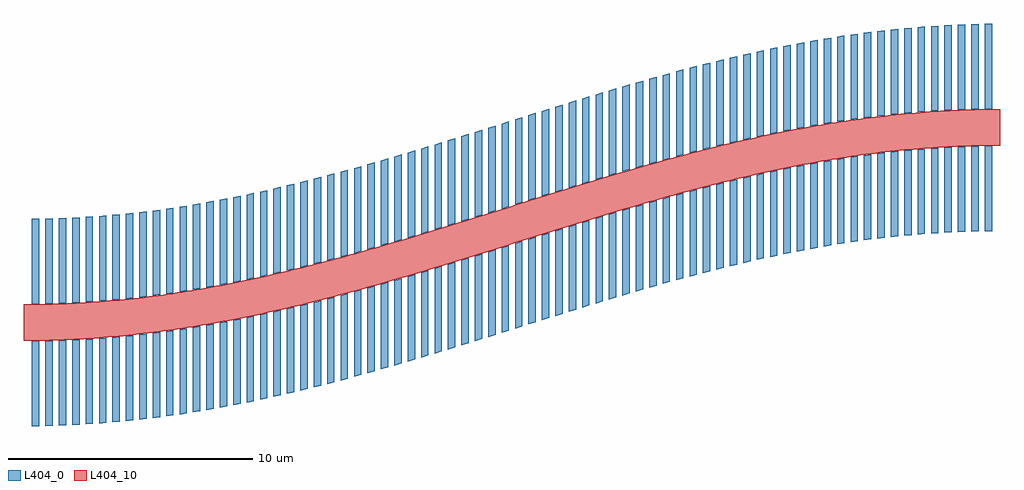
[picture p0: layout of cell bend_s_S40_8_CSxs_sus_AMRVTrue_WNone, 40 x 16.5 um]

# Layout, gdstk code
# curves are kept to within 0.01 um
import gdstk
lib = gdstk.Library(unit=1e-6, precision=1e-09)
def P(c, l, *ps):  # polygons
    for p in ps: c.add(gdstk.Polygon(p, *l))
L404_0 = (404, 0)
L404_10 = (404, 10)

bend_s_s40_8_csxs_sus_am = lib.new_cell('bend_s_S40_8_CSxs_sus_AMRVTrue_WNone')
P(bend_s_s40_8_csxs_sus_am, L404_0, [(0.325,0.751),(0.325,4.251),(0.625,4.255),(0.625,0.755)],
  [(0.875,0.76),(0.875,4.26),(1.175,4.267),(1.175,0.767)],
  [(1.425,0.775),(1.425,4.275),(1.725,4.287),(1.725,0.787)],
  [(1.975,0.799),(1.975,4.299),(2.275,4.315),(2.275,0.815)],
  [(2.525,0.83),(2.525,4.33),(2.825,4.35),(2.825,0.85)],
  [(3.075,0.868),(3.075,4.368),(3.375,4.392),(3.375,0.892)],
  [(3.625,0.914),(3.625,4.414),(3.925,4.442),(3.925,0.942)],
  [(4.175,0.967),(4.175,4.467),(4.475,4.499),(4.475,0.999)],
  [(4.725,1.027),(4.725,4.527),(5.025,4.563),(5.025,1.063)],
  [(5.275,1.094),(5.275,4.594),(5.575,4.634),(5.575,1.134)],
  [(5.825,1.169),(5.825,4.669),(6.125,4.712),(6.125,1.212)],
  [(6.375,1.25),(6.375,4.75),(6.675,4.797),(6.675,1.297)],
  [(6.925,1.337),(6.925,4.837),(7.225,4.888),(7.225,1.388)],
  [(7.475,1.431),(7.475,4.931),(7.775,4.985),(7.775,1.485)],
  [(8.025,1.531),(8.025,5.031),(8.325,5.089),(8.325,1.589)],
  [(8.575,1.638),(8.575,5.138),(8.875,5.198),(8.875,1.698)],
  [(9.125,1.75),(9.125,5.25),(9.425,5.314),(9.425,1.814)],
  [(9.675,1.868),(9.675,5.368),(9.975,5.434),(9.975,1.934)],
  [(10.225,1.991),(10.225,5.491),(10.525,5.561),(10.525,2.061)],
  [(10.775,2.12),(10.775,5.62),(11.075,5.692),(11.075,2.192)],
  [(11.325,2.253),(11.325,5.753),(11.625,5.828),(11.625,2.328)],
  [(11.875,2.391),(11.875,5.891),(12.175,5.968),(12.175,2.468)],
  [(12.425,2.533),(12.425,6.033),(12.725,6.113),(12.725,2.613)],
  [(12.975,2.68),(12.975,6.18),(13.275,6.262),(13.275,2.762)],
  [(13.525,2.83),(13.525,6.33),(13.825,6.414),(13.825,2.914)],
  [(14.075,2.984),(14.075,6.484),(14.375,6.57),(14.375,3.07)],
  [(14.625,3.142),(14.625,6.642),(14.925,6.729),(14.925,3.229)],
  [(15.175,3.302),(15.175,6.802),(15.475,6.89),(15.475,3.39)],
  [(15.725,3.465),(15.725,6.965),(16.025,7.054),(16.025,3.554)],
  [(16.275,3.63),(16.275,7.13),(16.575,7.221),(16.575,3.721)],
  [(16.825,3.797),(16.825,7.297),(17.125,7.389),(17.125,3.889)],
  [(17.375,3.966),(17.375,7.466),(17.675,7.559),(17.675,4.059)],
  [(22.325,0.441),(22.325,3.941),(22.625,4.034),(22.625,0.534)],
  [(22.875,0.611),(22.875,4.111),(23.175,4.203),(23.175,0.703)],
  [(23.425,0.779),(23.425,4.279),(23.725,4.37),(23.725,0.87)],
  [(23.975,0.946),(23.975,4.446),(24.275,4.535),(24.275,1.035)],
  [(24.525,1.11),(24.525,4.61),(24.825,4.698),(24.825,1.198)],
  [(25.075,1.271),(25.075,4.771),(25.375,4.858),(25.375,1.358)],
  [(25.625,1.43),(25.625,4.93),(25.925,5.016),(25.925,1.516)],
  [(26.175,1.586),(26.175,5.086),(26.475,5.17),(26.475,1.67)],
  [(26.725,1.738),(26.725,5.238),(27.025,5.32),(27.025,1.82)],
  [(27.275,1.887),(27.275,5.387),(27.575,5.467),(27.575,1.967)],
  [(27.825,2.032),(27.825,5.532),(28.125,5.609),(28.125,2.109)],
  [(28.375,2.172),(28.375,5.672),(28.675,5.747),(28.675,2.247)],
  [(28.925,2.308),(28.925,5.808),(29.225,5.88),(29.225,2.38)],
  [(29.475,2.439),(29.475,5.939),(29.775,6.009),(29.775,2.509)],
  [(30.025,2.566),(30.025,6.066),(30.325,6.132),(30.325,2.632)],
  [(30.575,2.686),(30.575,6.186),(30.875,6.25),(30.875,2.75)],
  [(31.125,2.802),(31.125,6.302),(31.425,6.362),(31.425,2.862)],
  [(31.675,2.911),(31.675,6.411),(31.975,6.469),(31.975,2.969)],
  [(32.225,3.015),(32.225,6.515),(32.525,6.569),(32.525,3.069)],
  [(32.775,3.112),(32.775,6.612),(33.075,6.663),(33.075,3.163)],
  [(33.325,3.203),(33.325,6.703),(33.625,6.75),(33.625,3.25)],
  [(33.875,3.288),(33.875,6.788),(34.175,6.831),(34.175,3.331)],
  [(34.425,3.366),(34.425,6.866),(34.725,6.906),(34.725,3.406)],
  [(34.975,3.437),(34.975,6.937),(35.275,6.973),(35.275,3.473)],
  [(35.525,3.501),(35.525,7.001),(35.825,7.033),(35.825,3.533)],
  [(36.075,3.558),(36.075,7.058),(36.375,7.086),(36.375,3.586)],
  [(36.625,3.608),(36.625,7.108),(36.925,7.132),(36.925,3.632)],
  [(37.175,3.65),(37.175,7.15),(37.475,7.17),(37.475,3.67)],
  [(37.725,3.685),(37.725,7.185),(38.025,7.201),(38.025,3.701)],
  [(38.275,3.713),(38.275,7.213),(38.575,7.225),(38.575,3.725)],
  [(38.825,3.733),(38.825,7.233),(39.125,7.24),(39.125,3.74)],
  [(39.375,3.745),(39.375,7.245),(39.675,7.249),(39.675,3.749)],
  [(30.025,7.602),(30.025,11.102),(30.325,11.167),(30.325,7.667)],
  [(25.075,6.333),(25.075,9.833),(25.375,9.919),(25.375,6.419)],
  [(30.575,7.72),(30.575,11.22),(30.875,11.282),(30.875,7.782)],
  [(20.125,4.825),(20.125,8.325),(20.425,8.42),(20.425,4.92)],
  [(31.125,7.832),(31.125,11.332),(31.425,11.391),(31.425,7.891)],
  [(25.625,6.49),(25.625,9.99),(25.925,10.074),(25.925,6.574)],
  [(31.675,7.938),(31.675,11.438),(31.975,11.494),(31.975,7.994)],
  [(22.875,5.68),(22.875,9.18),(23.175,9.271),(23.175,5.771)],
  [(32.225,8.039),(32.225,11.539),(32.525,11.591),(32.525,8.091)],
  [(26.175,6.643),(26.175,10.143),(26.475,10.225),(26.475,6.725)],
  [(32.775,8.134),(32.775,11.634),(33.075,11.683),(33.075,8.183)],
  [(20.675,4.998),(20.675,8.498),(20.975,8.592),(20.975,5.092)],
  [(33.325,8.222),(33.325,11.722),(33.625,11.767),(33.625,8.267)],
  [(26.725,6.793),(26.725,10.293),(27.025,10.373),(27.025,6.873)],
  [(33.875,8.304),(33.875,11.804),(34.175,11.846),(34.175,8.346)],
  [(23.425,5.847),(23.425,9.347),(23.725,9.437),(23.725,5.937)],
  [(34.425,8.379),(34.425,11.879),(34.725,11.917),(34.725,8.417)],
  [(27.275,6.939),(27.275,10.439),(27.575,10.517),(27.575,7.017)],
  [(34.975,8.448),(34.975,11.948),(35.275,11.982),(35.275,8.482)],
  [(21.225,5.17),(21.225,8.67),(21.525,8.764),(21.525,5.264)],
  [(35.525,8.51),(35.525,12.01),(35.825,12.041),(35.825,8.541)],
  [(27.825,7.081),(27.825,10.581),(28.125,10.656),(28.125,7.156)],
  [(36.075,8.565),(36.075,12.065),(36.375,12.092),(36.375,8.592)],
  [(23.975,6.011),(23.975,9.511),(24.275,9.6),(24.275,6.1)],
  [(36.625,8.613),(36.625,12.113),(36.925,12.136),(36.925,8.636)],
  [(28.375,7.218),(28.375,10.718),(28.675,10.791),(28.675,7.291)],
  [(37.175,8.654),(37.175,12.154),(37.475,12.173),(37.475,8.673)],
  [(21.775,5.341),(21.775,8.841),(22.075,8.934),(22.075,5.434)],
  [(37.725,8.687),(37.725,12.187),(38.025,12.203),(38.025,8.703)],
  [(28.925,7.351),(28.925,10.851),(29.225,10.921),(29.225,7.421)],
  [(38.275,8.714),(38.275,12.214),(38.575,12.225),(38.575,8.725)],
  [(24.525,6.173),(24.525,9.673),(24.825,9.761),(24.825,6.261)],
  [(38.825,8.733),(38.825,12.233),(39.125,12.241),(39.125,8.741)],
  [(29.475,7.479),(29.475,10.979),(29.775,11.047),(29.775,7.547)],
  [(39.375,8.745),(39.375,12.245),(39.675,12.249),(39.675,8.749)],
  [(22.325,5.511),(22.325,9.011),(22.625,9.103),(22.625,5.603)],
  [(17.925,4.136),(17.925,7.636),(18.225,7.73),(18.225,4.23)],
  [(18.475,4.308),(18.475,7.808),(18.775,7.902),(18.775,4.402)],
  [(19.025,4.48),(19.025,7.98),(19.325,8.074),(19.325,4.574)],
  [(19.575,4.653),(19.575,8.153),(19.875,8.247),(19.875,4.747)],
  [(4.725,-3.982),(4.725,-0.482),(5.025,-0.448),(5.025,-3.948)],
  [(19.025,-0.592),(19.025,2.908),(19.325,3.002),(19.325,-0.498)],
  [(9.675,-3.167),(9.675,0.333),(9.975,0.398),(9.975,-3.102)],
  [(19.575,-0.42),(19.575,3.08),(19.875,3.175),(19.875,-0.325)],
  [(2.525,-4.173),(2.525,-0.673),(2.825,-0.654),(2.825,-4.154)],
  [(10.225,-3.047),(10.225,0.453),(10.525,0.521),(10.525,-2.979)],
  [(5.275,-3.917),(5.275,-0.417),(5.575,-0.379),(5.575,-3.879)],
  [(10.775,-2.921),(10.775,0.579),(11.075,0.649),(11.075,-2.851)],
  [(1.425,-4.225),(1.425,-0.725),(1.725,-0.714),(1.725,-4.214)],
  [(11.325,-2.791),(11.325,0.709),(11.625,0.782),(11.625,-2.718)],
  [(5.825,-3.846),(5.825,-0.346),(6.125,-0.304),(6.125,-3.804)],
  [(11.875,-2.656),(11.875,0.844),(12.175,0.919),(12.175,-2.581)],
  [(3.075,-4.136),(3.075,-0.636),(3.375,-0.613),(3.375,-4.113)],
  [(12.425,-2.517),(12.425,0.983),(12.725,1.061),(12.725,-2.439)],
  [(6.375,-3.767),(6.375,-0.267),(6.675,-0.222),(6.675,-3.722)],
  [(12.975,-2.373),(12.975,1.127),(13.275,1.207),(13.275,-2.293)],
  [(0.875,-4.241),(0.875,-0.741),(1.175,-0.733),(1.175,-4.233)],
  [(13.525,-2.225),(13.525,1.275),(13.825,1.357),(13.825,-2.143)],
  [(6.925,-3.683),(6.925,-0.183),(7.225,-0.134),(7.225,-3.634)],
  [(14.075,-2.074),(14.075,1.426),(14.375,1.51),(14.375,-1.99)],
  [(3.625,-4.092),(3.625,-0.592),(3.925,-0.565),(3.925,-4.065)],
  [(14.625,-1.919),(14.625,1.581),(14.925,1.667),(14.925,-1.833)],
  [(7.475,-3.591),(7.475,-0.091),(7.775,-0.039),(7.775,-3.539)],
  [(15.175,-1.761),(15.175,1.739),(15.475,1.827),(15.475,-1.673)],
  [(1.975,-4.203),(1.975,-0.703),(2.275,-0.687),(2.275,-4.187)],
  [(15.725,-1.6),(15.725,1.9),(16.025,1.989),(16.025,-1.511)],
  [(8.025,-3.494),(8.025,0.006),(8.325,0.062),(8.325,-3.438)],
  [(16.275,-1.437),(16.275,2.063),(16.575,2.153),(16.575,-1.347)],
  [(4.175,-4.041),(4.175,-0.541),(4.475,-0.51),(4.475,-4.01)],
  [(16.825,-1.271),(16.825,2.229),(17.125,2.32),(17.125,-1.18)],
  [(8.575,-3.391),(8.575,0.109),(8.875,0.168),(8.875,-3.332)],
  [(17.375,-1.103),(17.375,2.397),(17.675,2.489),(17.675,-1.011)],
  [(0.325,-4.249),(0.325,-0.749),(0.625,-0.745),(0.625,-4.245)],
  [(17.925,-0.934),(17.925,2.566),(18.225,2.659),(18.225,-0.841)],
  [(9.125,-3.282),(9.125,0.218),(9.425,0.28),(9.425,-3.22)],
  [(18.475,-0.764),(18.475,2.736),(18.775,2.83),(18.775,-0.67)],
  [(20.125,-0.247),(20.125,3.253),(20.425,3.347),(20.425,-0.153)],
  [(21.225,0.098),(21.225,3.598),(21.525,3.692),(21.525,0.192)],
  [(20.675,-0.074),(20.675,3.426),(20.975,3.52),(20.975,0.02)],
  [(21.775,0.27),(21.775,3.77),(22.075,3.864),(22.075,0.364)])
P(bend_s_s40_8_csxs_sus_am, L404_10, [(0,-0.75),(0,0.75),(1.178,0.767),(2.16,0.808),(3.535,0.906),(4.91,1.049),(6.288,1.236),(7.47,1.43),(8.85,1.693),(10.233,1.993),(12.41,2.529),(14.99,3.247),(17.379,3.967),(22.58,5.59),(25.596,6.482),(27.21,6.922),(28.624,7.279),(29.837,7.561),(31.255,7.858),(32.27,8.047),(33.488,8.247),(34.707,8.415),(35.928,8.551),(37.149,8.652),(37.963,8.7),(39.185,8.742),(40,8.75),(40,7.25),(38.822,7.233),(37.84,7.192),(36.465,7.094),(35.09,6.951),(33.712,6.764),(32.53,6.57),(31.15,6.307),(29.767,6.007),(27.59,5.471),(25.01,4.753),(22.621,4.033),(17.42,2.41),(14.404,1.518),(12.79,1.078),(11.376,0.721),(10.163,0.439),(8.745,0.142),(7.73,-0.047),(6.512,-0.247),(5.293,-0.415),(4.072,-0.551),(2.851,-0.652),(2.037,-0.7),(0.815,-0.742)])

lib.write_gds('bend_s_S40_8_CSxs_sus_AMRVTrue_WNone.gds')
